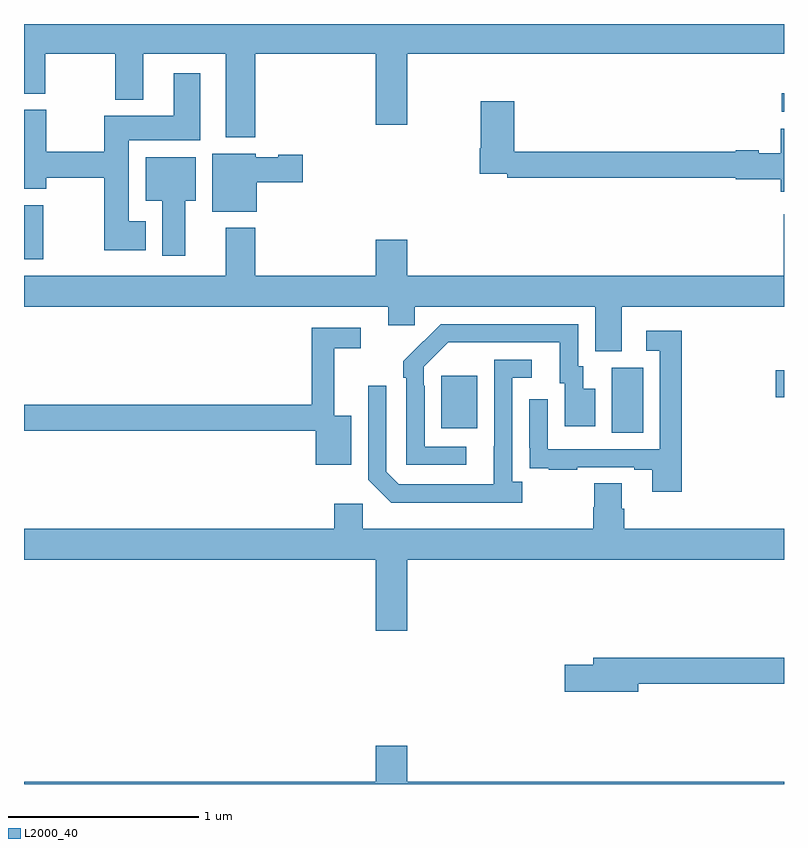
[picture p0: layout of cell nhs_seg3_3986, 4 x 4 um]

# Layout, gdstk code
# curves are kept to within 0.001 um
import gdstk
lib = gdstk.Library(unit=1e-6, precision=1e-09)
def R(c, l, rs):  # rectangles x0, y0, x1, y1
    for r in rs: c.add(gdstk.rectangle(r[:2], r[2:], *l))
def P(c, l, *ps):  # polygons
    for p in ps: c.add(gdstk.Polygon(p, *l))
L2000_40 = (2000, 40)

nhs_seg3_3986 = lib.new_cell('nhs_seg3_3986')
R(nhs_seg3_3986, L2000_40, [(322.094,704.248,322.258,704.592), (321.197,704.273,321.385,704.548), (322.956,704.435,323,704.577), (319,705.162,319.101,705.447), (322.989,705.939,323,706.035)])
P(nhs_seg3_3986, L2000_40, [(320.216,706.244),(320.852,706.244),(320.852,705.87),(321.016,705.87),(321.016,706.244),(323,706.244),(323,706.4),(319,706.4),(319,706.033),(319.113,706.033),(319.113,706.244),(319.48,706.244),(319.48,706.001),(319.627,706.001),(319.627,706.244),(320.063,706.244),(320.063,705.803),(320.216,705.803)],
  [(319.642,705.361),(319.552,705.361),(319.552,705.788),(319.927,705.788),(319.927,706.141),(319.787,706.141),(319.787,705.916),(319.423,705.916),(319.423,705.728),(319.116,705.728),(319.116,705.948),(319,705.948),(319,705.532),(319.116,705.532),(319.116,705.592),(319.423,705.592),(319.423,705.209),(319.642,705.209)],
  [(323,705.85),(322.982,705.85),(322.982,705.721),(322.866,705.721),(322.866,705.736),(322.746,705.736),(322.746,705.728),(321.581,705.728),(321.581,705.994),(321.403,705.994),(321.403,705.745),(321.398,705.745),(321.398,705.612),(321.544,705.612),(321.544,705.592),(322.746,705.592),(322.746,705.584),(322.982,705.584),(322.982,705.518),(323,705.518)],
  [(320.224,705.566),(320.467,705.566),(320.467,705.713),(320.337,705.713),(320.337,705.7),(320.22,705.7),(320.22,705.718),(319.991,705.718),(319.991,705.413),(320.224,705.413)],
  [(319.849,705.47),(319.903,705.47),(319.903,705.7),(319.64,705.7),(319.64,705.47),(319.727,705.47),(319.727,705.18),(319.849,705.18)],
  [(322.147,704.912),(323,704.912),(323,705.4),(322.999,705.4),(322.999,705.076),(321.016,705.076),(321.016,705.265),(320.852,705.265),(320.852,705.076),(320.216,705.076),(320.216,705.328),(320.063,705.328),(320.063,705.076),(319,705.076),(319,704.912),(320.918,704.912),(320.918,704.814),(321.057,704.814),(321.057,704.912),(322.007,704.912),(322.007,704.677),(322.147,704.677)],
  [(321.328,704.175),(321.108,704.175),(321.108,704.495),(321.105,704.495),(321.105,704.595),(321.234,704.724),(321.821,704.724),(321.821,704.508),(321.845,704.508),(321.845,704.283),(322.006,704.283),(322.006,704.479),(321.943,704.479),(321.943,704.598),(321.918,704.598),(321.918,704.82),(321.194,704.82),(320.997,704.625),(320.997,704.537),(321.012,704.537),(321.012,704.079),(321.328,704.079)],
  [(320.722,704.338),(320.633,704.338),(320.633,704.694),(320.773,704.694),(320.773,704.802),(320.515,704.802),(320.515,704.396),(319,704.396),(319,704.26),(320.535,704.26),(320.535,704.081),(320.722,704.081)],
  [(322.463,704.785),(322.275,704.785),(322.275,704.679),(322.347,704.679),(322.347,704.163),(321.756,704.163),(321.756,704.425),(321.66,704.425),(321.66,704.17),(321.661,704.17),(321.661,704.061),(321.763,704.061),(321.763,704.055),(321.911,704.055),(321.911,704.067),(322.211,704.067),(322.211,704.055),(322.307,704.055),(322.307,703.938),(322.463,703.938)],
  [(321.622,703.99),(321.57,703.99),(321.57,704.538),(321.673,704.538),(321.673,704.634),(321.474,704.634),(321.473,703.977),(320.973,703.977),(320.907,704.043),(320.907,704.497),(320.811,704.497),(320.811,704.001),(320.932,703.88),(321.622,703.88)],
  [(321.016,703.58),(323,703.58),(323,703.744),(322.16,703.744),(322.16,703.85),(322.147,703.85),(322.147,703.982),(322,703.982),(322,703.857),(321.995,703.857),(321.995,703.744),(320.784,703.744),(320.784,703.876),(320.633,703.876),(320.633,703.744),(319,703.744),(319,703.58),(320.852,703.58),(320.852,703.206),(321.016,703.206)],
  [(322.234,702.928),(323,702.928),(323,703.064),(321.995,703.064),(321.995,703.028),(321.846,703.028),(321.846,702.886),(322.234,702.886)],
  [(323,702.412),(321.016,702.412),(321.016,702.601),(320.852,702.601),(320.852,702.412),(319,702.412),(319,702.4),(323,702.4)])

lib.write_gds('nhs_seg3_3986.gds')
